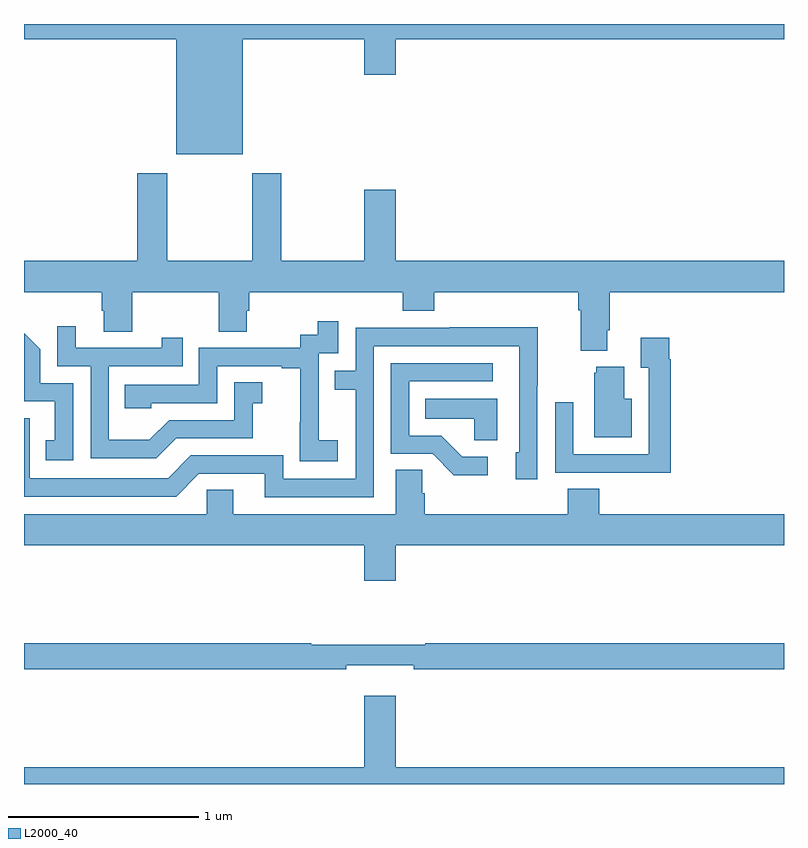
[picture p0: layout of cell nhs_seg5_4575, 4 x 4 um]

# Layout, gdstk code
import gdstk
lib = gdstk.Library(unit=1e-6, precision=1e-09)
def P(c, l, *ps):  # polygons
    for p in ps: c.add(gdstk.Polygon(p, *l))
L2000_40 = (2000, 40)

nhs_seg5_4575 = lib.new_cell('nhs_seg5_4575')
P(nhs_seg5_4575, L2000_40, [(380.152,896.72),(380.792,896.72),(380.792,896.532),(380.956,896.532),(380.956,896.72),(383,896.72),(383,896.799),(379,896.799),(379,896.72),(379.802,896.72),(379.802,896.114),(380.152,896.114)],
  [(382.069,895.186),(382.082,895.186),(382.082,895.388),(383,895.388),(383,895.552),(380.956,895.552),(380.956,895.927),(380.792,895.927),(380.792,895.552),(380.355,895.552),(380.355,896.014),(380.2,896.014),(380.2,895.552),(379.755,895.552),(379.755,896.014),(379.595,896.014),(379.595,895.552),(379,895.552),(379,895.388),(379.409,895.388),(379.409,895.29),(379.421,895.29),(379.421,895.18),(379.569,895.18),(379.569,895.388),(380.026,895.388),(380.026,895.18),(380.173,895.18),(380.173,895.29),(380.186,895.29),(380.186,895.388),(380.993,895.388),(380.993,895.289),(381.158,895.289),(381.158,895.388),(381.917,895.388),(381.917,895.292),(381.929,895.292),(381.929,895.079),(382.069,895.079)],
  [(380.65,894.607),(380.552,894.607),(380.552,894.836),(380.55,894.836),(380.55,895.065),(380.655,895.065),(380.655,895.234),(380.547,895.234),(380.547,895.164),(380.454,895.164),(380.454,895.095),(379.92,895.095),(379.92,894.9),(379.531,894.9),(379.531,894.777),(379.671,894.777),(379.671,894.804),(380.016,894.804),(380.016,894.999),(380.357,894.999),(380.357,894.987),(380.453,894.987),(380.453,894.703),(380.452,894.703),(380.452,894.497),(380.65,894.497)],
  [(379.801,894.618),(380.205,894.618),(380.205,894.803),(380.254,894.803),(380.254,894.913),(380.106,894.913),(380.106,894.714),(379.764,894.714),(379.66,894.61),(379.446,894.61),(379.446,894.999),(379.835,894.999),(379.835,895.147),(379.724,895.147),(379.724,895.095),(379.273,895.095),(379.273,895.207),(379.176,895.207),(379.176,894.999),(379.35,894.999),(379.35,894.513),(379.696,894.513)],
  [(380.841,895.104),(381.606,895.104),(381.606,894.546),(381.587,894.546),(381.587,894.402),(381.702,894.402),(381.702,894.895),(381.705,894.895),(381.705,895.202),(381.241,895.202),(381.241,895.2),(380.745,895.2),(380.745,894.975),(380.635,894.975),(380.635,894.874),(380.745,894.874),(380.745,894.405),(380.364,894.405),(380.364,894.528),(379.878,894.528),(379.758,894.408),(379.029,894.408),(379.029,894.723),(379,894.723),(379,894.312),(379.8,894.312),(379.92,894.432),(380.267,894.432),(380.267,894.309),(380.841,894.309)],
  [(379.26,894.909),(379.086,894.909),(379.086,895.086),(379,895.172),(379,894.813),(379.163,894.813),(379.163,894.609),(379.114,894.609),(379.114,894.504),(379.26,894.504)],
  [(382.403,895.034),(382.396,895.034),(382.396,895.147),(382.247,895.147),(382.247,894.991),(382.287,894.991),(382.287,894.534),(381.891,894.534),(381.891,894.808),(381.795,894.808),(381.795,894.438),(382.111,894.438),(382.111,894.437),(382.403,894.437)],
  [(381.442,894.522),(381.307,894.522),(381.196,894.633),(381.027,894.633),(381.027,894.918),(381.466,894.918),(381.466,895.014),(380.931,895.014),(380.931,894.537),(381.15,894.537),(381.263,894.425),(381.442,894.425)],
  [(382.198,894.826),(382.159,894.826),(382.159,894.994),(382.013,894.994),(382.013,894.963),(382.001,894.963),(382.001,894.623),(382.198,894.623)],
  [(381.49,894.826),(381.112,894.826),(381.112,894.722),(381.369,894.722),(381.369,894.607),(381.49,894.607)],
  [(380.956,894.056),(383,894.056),(383,894.22),(382.028,894.22),(382.028,894.353),(381.863,894.353),(381.863,894.22),(381.11,894.22),(381.11,894.329),(381.096,894.329),(381.096,894.452),(380.957,894.452),(380.957,894.22),(380.101,894.22),(380.101,894.347),(379.962,894.347),(379.962,894.22),(379,894.22),(379,894.056),(380.792,894.056),(380.792,893.868),(380.956,893.868)],
  [(380.696,893.423),(381.052,893.423),(381.052,893.404),(383,893.404),(383,893.54),(381.113,893.54),(381.113,893.533),(380.513,893.533),(380.513,893.54),(379,893.54),(379,893.404),(380.696,893.404)],
  [(383,892.888),(380.956,892.888),(380.956,893.263),(380.792,893.263),(380.792,892.888),(379,892.888),(379,892.799),(383,892.799)])

lib.write_gds('nhs_seg5_4575.gds')
